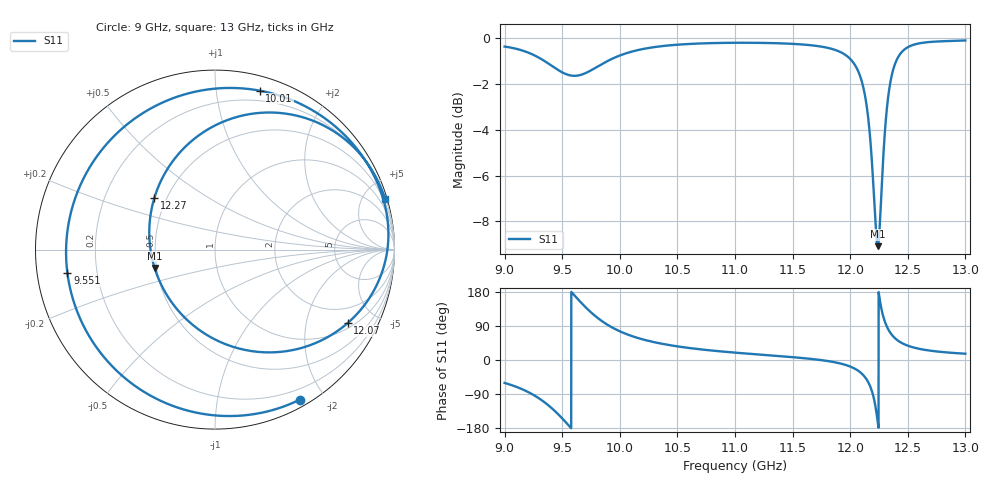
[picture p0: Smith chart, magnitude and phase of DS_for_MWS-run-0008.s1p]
! TOUCHSTONE file generated by CST DESIGN STUDIO
! Date and time: Wed Feb  5 13:35:24 2025
! Project name: C:\Work\MatlabApps\UnitCellOptimizationMatlab\CST\unitcell.cst
! Tree item: Tasks\Sweep1\SPara1\S-Parameters
! Header version: 2024
! Port assignment regex: !\s*Touchstone port\s*([0-9]+)\s*=\s*(CST MWS port|CST DES external port|CST DES block port)\s*(.+)\s* \(\"(.*)\"\)(\s*mode\s*([0-9]+))?.*
! Touchstone port assignment:
! Touchstone port 1 = CST DES external port 1 ("")
# GHz S MA R 50
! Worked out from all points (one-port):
!   4001 points, 9 GHz to 13 GHz, reference 50 ohm
!   lowest |S11| = -9.1 dB at 12.24 GHz (marker M1), VSWR 2.08, Z = 24.4 - j5.7 ohm
!   |S11| at or under -10 dB: nowhere
!   S11 on the Smith chart (normalised r, x): 9 GHz: 0.08, -1.71; 9.551 GHz: 0.09, -0.08; 10.01 GHz: 0.11, +1.31; 12.07 GHz: 1.22, -3.48; 12.27 GHz: 0.43, +0.31; 13 GHz: 0.24, +6.84
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9  0.9601 -60.5
9.151  0.9417 -76.9
9.301  0.9069 -101.7
9.402  0.874 -125.2
9.5  0.8432 -154.1
9.551  0.8327 -170.8
9.647  0.8308 156.9
9.767  0.8566 121.1
9.87  0.8863 97.4
10  0.9178 75.7
10.011  0.9201 74.3
10.223  0.9507 52.5
10.5  0.9692 36.0
11  0.9786 19.4
11.5  0.9733 7.5
11.808  0.9536 -2.9
12  0.9023 -17.3
12.072  0.8452 -28.9
12.128  0.7513 -45.1
12.177  0.59 -72.2
12.208  0.443 -104.8
12.239  0.3516 -163.1
12.268  0.4437 139.7
12.303  0.6342 99.5
12.341  0.7814 75.3
12.409  0.9035 52.4
12.5  0.957 37.8
13  0.9901 16.6
